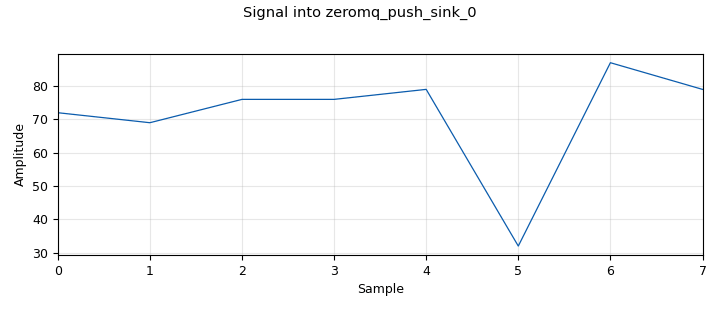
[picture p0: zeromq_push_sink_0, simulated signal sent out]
options:
  parameters:
    author: James Morrison
    generate_options: qt_gui
    id: BBCCodecMaster
    output_language: python
    title: BBCCodec
  states: {}

blocks:
- name: CODEWORD_LENGTH
  id: variable
  parameters:
    value: 2**9
  states: {}
- name: MESSAGE_LENGTH
  id: variable
  parameters:
    value: 2**3
  states: {}
- name: codeword
  id: variable
  parameters:
    value: '"HELLO WO"'
  states: {}
- name: blocks_stream_to_vector_0
  id: blocks_stream_to_vector
  parameters:
    num_items: MESSAGE_LENGTH
    type: byte
  states: {}
- name: blocks_stream_to_vector_0_0
  id: blocks_stream_to_vector
  parameters:
    num_items: CODEWORD_LENGTH
    type: byte
  states: {}
- name: blocks_tag_debug_0
  id: blocks_tag_debug
  parameters:
    type: byte
  states: {}
- name: blocks_throttle_0
  id: blocks_throttle
  parameters:
    samples_per_second: '32000'
    type: byte
  states: {}
- name: blocks_vector_source_x_0_0
  id: blocks_vector_source_x
  parameters:
    repeat: 'False'
    type: byte
    vector: '[ord(i) for i in codeword]'
  states: {}
- name: blocks_vector_to_stream_1
  id: blocks_vector_to_stream
  parameters:
    num_items: CODEWORD_LENGTH
    type: byte
  states: {}
- name: blocks_vector_to_stream_1_0
  id: blocks_vector_to_stream
  parameters:
    num_items: MESSAGE_LENGTH
    type: byte
  states: {}
- name: epy_block_0
  id: epy_block
  parameters:
    _source_code: |
      """
      D E C O D E R
      """

      import numpy as np
      from gnuradio import gr
      DEFAULT_CHECKSUM = 0
      global first
      first = True

      class blk(gr.sync_block):  # other base classes are basic_block, decim_block, interp_block
          """Embedded Python Block example - a simple multiply const"""

          def __init__(self, msg_len=2**3, cod_len=2**9):
              """arguments to this function show up as parameters in GRC"""
              gr.sync_block.__init__(
                  self,
                  name='BBC Decoder',   # will show up in GRC
                  in_sig=[(np.byte, cod_len)],
                  out_sig=[(np.byte, msg_len)]
              )
              # if an attribute with the same name as a parameter is found,
              # a callback is registered (properties work, too).
              # Convert from bits to Bytes
              self.myDecoder = Decoder(msg_len*8, cod_len*8)

          def work(self, input_items, output_items):
              """example: multiply with constant"""
              print("test")
              result = self.myDecoder.decode(input_items[0][:][:])
              print("type of decoder result: ", type(result[0]))
              output_items[0][:][:] = bytearray(result[0].encode()) # TODO: ADD ITERATIVE OUTPUT
              return len(output_items[0])

      ###############################################################################
      class Decoder:
          def __init__(self, msg_len, cod_len):
              self.message_list = []
              self.num_checksum = DEFAULT_CHECKSUM
              self.shift_register = self.init_shift_register()
              self.msg_len = msg_len
              self.cod_len = cod_len

          def init_shift_register(self):
              shift_register = [0 for i in range(32)]
              init(shift_register)
              return (shift_register)
          
          def decode(self, codeword):
              codeword = bytearray(codeword.tobytes()) #added for GRC implementation
              global first
              if(first):
                  #print(codeword)
                  first = False
                  self.message_list = []
                  message = bytearray(int(self.msg_len/8))
                  self._decode_BBC_recursive(message, codeword, 0) # make the first recursive call to decode
                  #return self.message_list
                  #print("Message list- decoder--", self.message_list)
                  return self.message_list
          
          def _decode_BBC_recursive(self, message, codeword, index):
              # BASE CASE
              if index == (self.msg_len-1):
                  self.message_list.append(bytes(memoryview(message)[0:self.msg_len-1-self.num_checksum]).decode(encoding='ascii'))
                  
              # assuming the next message bit is a 0, check for a mark in the codeword
              else:
                  val = (add_bit(0, self.shift_register) % (self.cod_len))
                  bit = ((memoryview(codeword)[int((val-val%8)/8)])>>(val%8))& 0b1
                  if bit == 1: #TODO
                      try:
                          self._decode_BBC_recursive(message, codeword, index+1)
                      except:
                          print("Line 68. Recursion max length reached. current message: ", message, "Length at error = ", index) #DEBUG
                  del_bit(0, self.shift_register)

                  # assuming the next message bit is a 1, check for a mark in the codeword
                  val = (add_bit(1, self.shift_register) % (self.cod_len))
                  bit =  (memoryview(codeword)[int((val-val%8)/8)]>>(val%8))& 0b1
                  if bit == 1: #(1<<val) == (codeword & (1<<val)):
                      memoryview(message)[int((index-index%8)/8)] += (1<<index%8)
                      try:
                          self._decode_BBC_recursive(message, codeword, index+1)
                      except:
                          print("Line 79. Recursion max length reached. current message: ", message, "Length at error = ", index) #DEBUG
                  del_bit(1, self.shift_register)

      ###############################################################################
      MAX_VAL = 0xffffffffffffffff
      global n
      n = 0       
      def add_bit(b, s):
          global n
          t = (s[n % 32]^(0xffffffff if b else 0)) &MAX_VAL
          t = ((t|(t>>1)) ^ ((t<<1)&MAX_VAL))&MAX_VAL     # Have to enforce 64 bit condition on left shift     
          t = (t ^ (t>>4) ^ (t>>8) ^ (t>>16) ^ (t>>32)) & MAX_VAL
          n += 1                           
          s[n % 32] ^= (t&MAX_VAL)  #s[(n) % 32] ^= t, modified to reflect n change
          return s[n % 32]    #return s[(n) % 32], modified to reflect n change                      

      def del_bit(b, s):
          global n
          n -= 1
          add_bit(b,s), 
          n -= 1
          return s[n % 32]
          
      def init(s):
          global n
          n = 0
          h = 1
          for i in range(32):
              s[i]=0
          for i in range(4096):
              h=add_bit(h&1, s)
          n = 0    
    cod_len: CODEWORD_LENGTH
    msg_len: MESSAGE_LENGTH
  states: {}
- name: epy_block_2
  id: epy_block
  parameters:
    _source_code: |
      """
      Embedded Python Blocks:

      Each time this file is saved, GRC will instantiate the first class it finds
      to get ports and parameters of your block. The arguments to __init__  will
      be the parameters. All of them are required to have default values!
      """

      import numpy as np
      from gnuradio import gr
      DEFAULT_CHECKSUM = 0

      class blk(gr.sync_block):

          def __init__(self, msg_len=2**3, cod_len=2**9):
              #GR Interpretable variables, names and ports
              gr.sync_block.__init__(self,
                  name='BBC Encoder',
                  in_sig=[(np.byte, msg_len)],
                  out_sig=[(np.byte, cod_len)]
              )
              #self.cod_len = cod_len
              # Convert from bits to Bytes
              self.myEncoder = Encoder(msg_len*8, cod_len*8)
          
          # Use BBC to encode the incoming vectors
          def work(self, input_items, output_items):
              #print("Encoder in and out ", int(len(input_items)), int(len(output_items)))
              result = self.myEncoder.encode(input_items[0][:][:])
              print("type of encoder result: ", type(result))
              output_items[0][:][:] = result
              return len(output_items[0])
          
      ###############################################################################
      class Encoder:
          def __init__(self, msg_len, cod_len):
              self.shift_register = self.init_shift_register()
              self.msg_len = msg_len
              self.cod_len = cod_len

          def init_shift_register(self):
              shift_register = [0 for i in range(32)]
              init(shift_register)
              return (shift_register)

          def parse_input(self, my_input):
              #print("parsing", my_input)
              #if(type(my_input)==type("string")):
              #    my_input = my_input.encode(encoding="ASCII")
              message = bytearray(my_input.tobytes())#bytearray(MSG_LEN)
              #print("message = ", message)
              #memoryview(message)[0:(len(input))] = input
              return message

          def encode(self, input):
              #print("parsing ", input)
              message = self.parse_input(input)
              #print("Encoder output- message--", message, "Length of message: ", len(message), "B")
              #print("message ", message)
              codeword = bytearray(int(self.cod_len/8))
              for i in range(self.msg_len):
                  element = memoryview(message)[int((i-i%8)/8)]
                  bit = ((element) >> (i%8)) & 0b1
                  mark_loc = add_bit(bit, self.shift_register) % self.cod_len
                  memoryview(codeword)[int((mark_loc-mark_loc%8)/8)] |= (1<<(mark_loc%8))
                  # Was error for adding 10000000, so changed to | instead of +
              #print(codeword==0)
              return(codeword)
              
       ##############################################################################
      MAX_VAL = 0xffffffffffffffff
      global n
      n = 0       
      def add_bit(b, s):
          global n
          t = (s[n % 32]^(0xffffffff if b else 0)) &MAX_VAL
          t = ((t|(t>>1)) ^ ((t<<1)&MAX_VAL))&MAX_VAL     # Have to enforce 64 bit condition on left shift     
          t = (t ^ (t>>4) ^ (t>>8) ^ (t>>16) ^ (t>>32)) & MAX_VAL
          n += 1                           
          s[n % 32] ^= (t&MAX_VAL)  #s[(n) % 32] ^= t, modified to reflect n change
          return s[n % 32]    #return s[(n) % 32], modified to reflect n change                      

      def del_bit(b, s):
          global n
          n -= 1
          add_bit(b,s), 
          n -= 1
          return s[n % 32]
          
      def init(s):
          global n
          n = 0
          h = 1
          for i in range(32):
              s[i]=0
          for i in range(4096):
              h=add_bit(h&1, s)
          n = 0    
    cod_len: CODEWORD_LENGTH
    msg_len: MESSAGE_LENGTH
  states: {}
- name: virtual_sink_1
  id: virtual_sink
  parameters:
    stream_id: bytes
  states: {}
- name: virtual_source_0
  id: virtual_source
  parameters:
    stream_id: bytes
  states: {}
- name: zeromq_push_sink_0
  id: zeromq_push_sink
  parameters:
    address: '"tcp://127.0.0.1:5557"'
    timeout: '100'
    type: byte
  states: {}

connections:
- [blocks_stream_to_vector_0, '0', epy_block_2, '0']
- [blocks_stream_to_vector_0_0, '0', epy_block_0, '0']
- [blocks_throttle_0, '0', blocks_stream_to_vector_0, '0']
- [blocks_throttle_0, '0', blocks_tag_debug_0, '0']
- [blocks_vector_source_x_0_0, '0', blocks_throttle_0, '0']
- [blocks_vector_to_stream_1, '0', virtual_sink_1, '0']
- [blocks_vector_to_stream_1_0, '0', zeromq_push_sink_0, '0']
- [epy_block_0, '0', blocks_vector_to_stream_1_0, '0']
- [epy_block_2, '0', blocks_vector_to_stream_1, '0']
- [virtual_source_0, '0', blocks_stream_to_vector_0_0, '0']

metadata:
  file_format: 1
